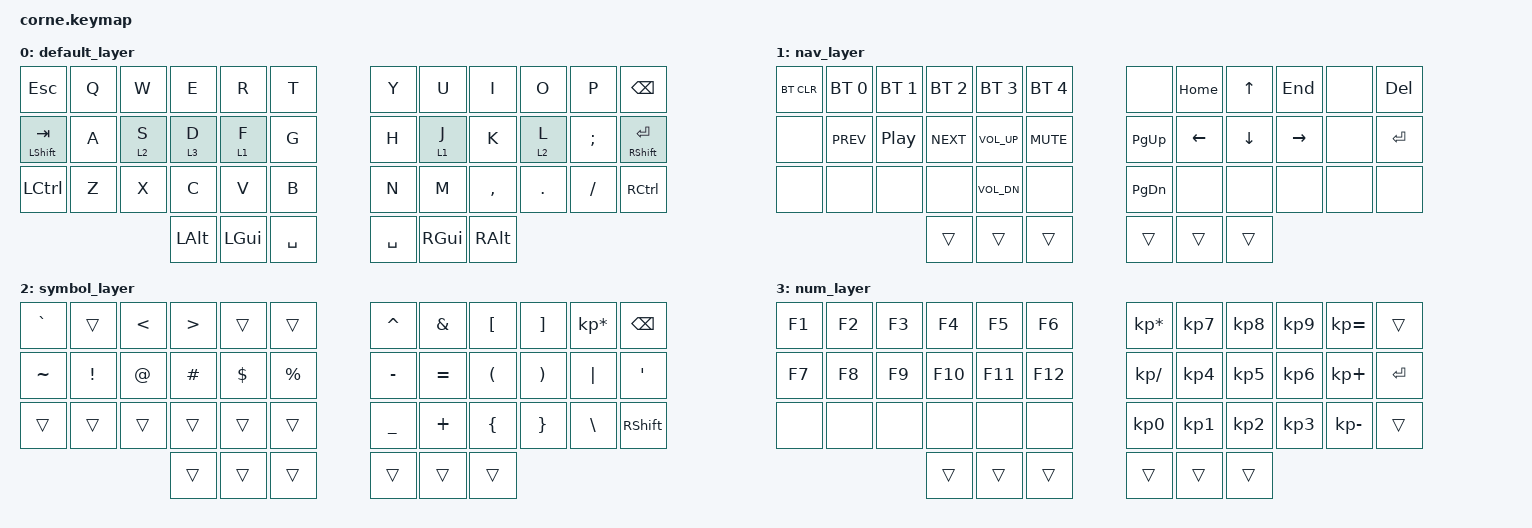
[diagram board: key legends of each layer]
/*
 * Copyright (c) 2020 The ZMK Contributors
 *
 * SPDX-License-Identifier: MIT
 */

#include <behaviors.dtsi>
#include <dt-bindings/zmk/keys.h>
#include <dt-bindings/zmk/bt.h>

/ {
        keymap {
                compatible = "zmk,keymap";

                default_layer {
// .------------------------------------------------------.   .--------------------------------------------------.
// | ESC         | Q | W       | E        | R       | T   |   | Y   | U       | I   | O       | P | BKSP         |
// | TAB / SHIFT | A | SYM / S | NUM / D  | NAV / F | G   |   | H   | NAV / J | K   | SYM / L | ; | ENTR / SHIFT |
// | CTRL        | Z | X       | C        | V       | B   |   | N   | M       | ,   | .       | / | CTRL         |
// `-------------------------- | OPT      | CMD     | SPC |   | SPC | CMD     | OPT | ---------------------------`
//                            `---------------------------`   `----------------------`
                        
                        bindings = <
   &kp ESC        &kp Q &kp W   &kp E    &kp R    &kp T       &kp Y     &kp U    &kp I     &kp O    &kp P    &kp BSPC
   &mt LSHIFT TAB &kp A &lt 2 S &lt 3 D  &lt 1 F  &kp G       &kp H     &lt 1 J  &kp K     &lt 2 L  &kp SEMI &mt RSHIFT ENTER
   &kp LCTRL      &kp Z &kp X   &kp C    &kp V    &kp B       &kp N     &kp M    &kp COMMA &kp DOT  &kp FSLH &kp RCTRL
                                &kp LALT &kp LGUI &kp SPACE   &kp SPACE &kp RGUI &kp RALT
                        >;
                };

                nav_layer {
// .----------------------------------------.   .---------------------------------------.
// | BTX | BT1  | BT2  | BT3  | BT4  | BT5  |   |      | HOME | UP   | END |     | DEL  |
// |     | PREV | PLAY | NEXT | VOL+ | MUTE |   | PGUP | LFT  | DWN  | RGT |     | ENTR |
// |     |      |      |      | VOL- |      |   | PGDN |      |      |     |     |      |
// `------------------ |      |      |      |   |      |      |      | -----------------`
//                    `---------------------`   `--------------------`

                        bindings = <
   &bt BT_CLR &bt BT_SEL 0 &bt BT_SEL 1 &bt BT_SEL 2 &bt BT_SEL 3 &bt BT_SEL 4   &none     &kp HOME &kp UP   &kp END   &none &kp DELETE
   &none      &kp C_PREV    &kp C_PP    &kp C_NEXT   &kp C_VOL_UP &kp C_MUTE     &kp PG_UP &kp LEFT &kp DOWN &kp RIGHT &none &kp ENTER
   &none      &none         &none       &none        &kp C_VOL_DN &none          &kp PG_DN &none    &none    &none     &none &none
                          	        &trans       &trans       &trans         &trans    &trans   &trans
                        >;
                };

                symbol_layer {
// .-----------------------------------.   .------------------------------------.
// |  ~  |     |     |  <  |  >  |     |   |  ^  |  &  |  [  |  ]  |  *  | BKSP |
// |  `  |  !  |  @  |  #  |  $  |  %  |   |  -  |  =  |  (  |  )  | "|" | '    |
// |     |     |     |     |     |     |   |  _  |  +  |  {  |  }  |  \  | SHFT |
// `---------------- |     |     |     |   |     |     |     | -----------------`
//                  `------------------`   `------------------`

                        bindings = <
   &kp GRAVE  &trans   &kp LT &kp GT   &trans   &trans      &kp CARET &kp AMPS  &kp LBKT &kp RBKT &kp KP_MULTIPLY &kp BSPC
   &kp TILDE  &kp EXCL &kp AT &kp HASH &kp DLLR &kp PRCNT   &kp MINUS &kp EQUAL &kp LPAR &kp RPAR &kp PIPE        &kp SINGLE_QUOTE
   &trans     &trans   &trans &trans   &trans   &trans      &kp UNDER &kp PLUS  &kp LBRC &kp RBRC &kp BSLH        &kp RSHIFT
                              &trans   &trans   &trans      &trans    &trans    &trans
                        >;
                };

                num_layer {
// .-----------------------------------.  .------------------------------------.
// | F1  | F2  | F3  | F4  | F5  | F6  |  |  *  |  7  |  8  |  9  |  =  |      |
// | F7  | F8  | F9  | F10 | F11 | F12 |  |  /  |  4  |  5  |  6  |  +  | ENTR |
// |     |     |     |     |     |     |  |  0  |  1  |  2  |  3  |  -  |      |
// `---------------- |     |     |     |  |     |     |     | -----------------`
//                  `------------------`  `------------------`

                        bindings = <
   &kp F1 &kp F2 &kp F3 &kp F4   &kp F5  &kp F6      &kp KP_MULTIPLY &kp KP_N7 &kp KP_N8 &kp KP_N9 &kp KP_EQUAL &trans
   &kp F7 &kp F8 &kp F9 &kp F10  &kp F11 &kp F12     &kp KP_DIVIDE   &kp KP_N4 &kp KP_N5 &kp KP_N6 &kp KP_PLUS  &kp ENTER
   &none  &none  &none  &none    &none   &none       &kp KP_N0       &kp KP_N1 &kp KP_N2 &kp KP_N3 &kp KP_MINUS &trans
                        &trans   &trans  &trans      &trans          &trans    &trans
                        >;
                };
        };
};
